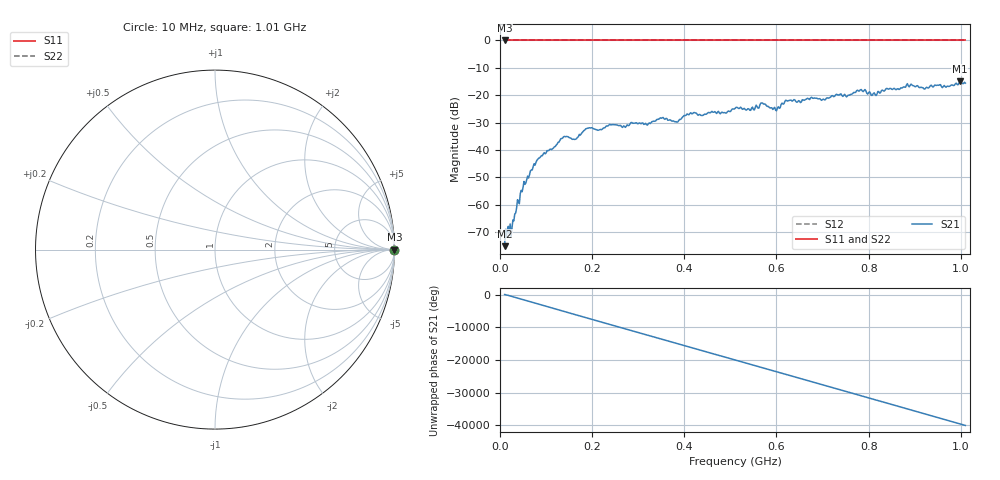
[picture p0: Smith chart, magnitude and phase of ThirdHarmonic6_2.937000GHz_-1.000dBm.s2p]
! 8/17/2025 8:13:16 AM
! C:\ANRITSUVNA\TEMP\TEMP.S2P
! CHANNEL.1
! TR.MEASUREMENT
! RAW.DATA
! RF.CORRECTION.OFF
! AVERAGING.OFF
! IF.BANDWIDTH: 5KHZ
! SWEEPTYPE:  FREQ.SWEEP(Linear)
! Reference Plane Port Info
! PORT:  PORT1  PORT2
! DISTANCE:  0  m  0  m
! TIME:  0  s  0  s
! PHASE.OFFSET:  0  deg.  0  deg.
! LOSS:  0  dB  0  dB
! REF.LOSS:  0  dB  0  dB
! REF.FREQ:  0  Hz  0  Hz
! Power Info
! POWER:  -20  dBm  -20  dBm
! EFF.POWER:  -20  dBm  -20  dBm
! SOURCE.ATTEN:  0  dB  0  dB
! TEST.ATTEN:  0  dB  0  dB
# GHZ S RI R 50.0
! FREQ.GHZ  S11RE  S11IM  S21RE  S21IM  S12RE  S12IM  S22RE  S22IM
!; PortSelection: Port_12
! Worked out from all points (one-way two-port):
!   501 points, 10 MHz to 1.01 GHz, reference 50 ohm
!   highest |S21| = -14.96 dB at 998 MHz (marker M1); lowest = -75.1 dB at 10 MHz (marker M2)
!   lowest |S11| = 0.0 dB at 10 MHz (marker M3)
!   |S11| at or under -10 dB: nowhere
!   |S22| runs from 0.0 to 0.0 dB; largest |S21 - S12| = 1.2
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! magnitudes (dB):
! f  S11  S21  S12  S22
! 10 MHz  0.0  -75.1  0.0  0.0
! 16 MHz  0.0  -69.0  0.0  0.0
! 28 MHz  0.0  -65.6  0.0  0.0
! 48 MHz  0.0  -55.2  0.0  0.0
! 82 MHz  0.0  -43.4  0.0  0.0
! 136 MHz  0.0  -35.6  0.0  0.0
! 162 MHz  0.0  -36.2  0.0  0.0
! 178 MHz  0.0  -33.7  0.0  0.0
! 344 MHz  0.0  -28.8  0.0  0.0
! 382 MHz  0.0  -29.6  0.0  0.0
! 410 MHz  0.0  -27.1  0.0  0.0
! 510 MHz  0.0  -24.9  0.0  0.0
! 548 MHz  0.0  -24.4  0.0  0.0
! 570 MHz  0.0  -22.9  0.0  0.0
! 596 MHz  0.0  -24.4  0.0  0.0
! 622 MHz  0.0  -21.9  0.0  0.0
! 678 MHz  0.0  -21.1  0.0  0.0
! 780 MHz  0.0  -18.4  0.0  0.0
! 812 MHz  0.0  -19.1  0.0  0.0
! 844 MHz  0.0  -17.8  0.0  0.0
! 998 MHz  0.0  -15.0  0.0  0.0
! 1.01 GHz  0.0  -15.6  0.0  0.0
